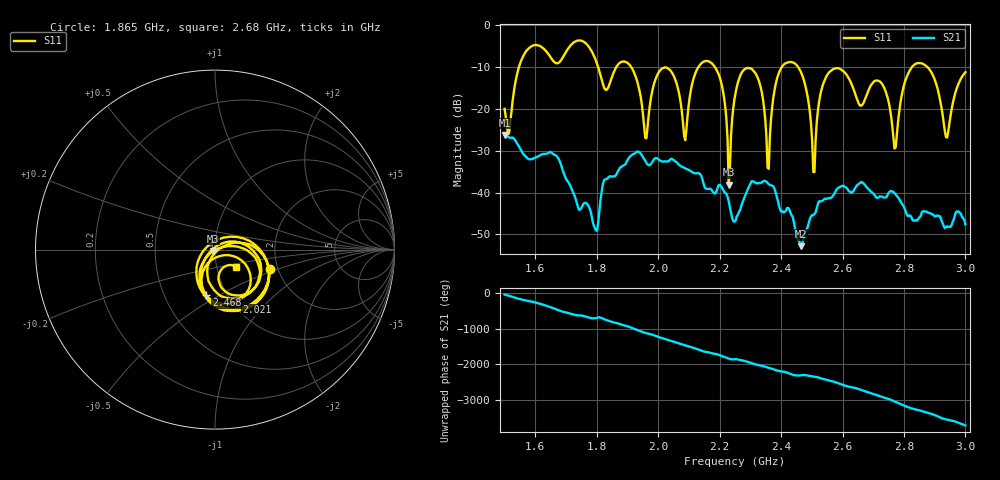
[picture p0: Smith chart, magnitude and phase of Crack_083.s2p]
# HZ S RI R 50
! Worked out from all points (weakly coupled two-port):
!   404 points, 1.5 GHz to 3 GHz, reference 50 ohm
!   highest |S21| = -26.21 dB at 1.5 GHz (marker M1); lowest = -52.8 dB at 2.464 GHz (marker M2)
!   lowest |S11| = -38.1 dB at 2.23 GHz (marker M3), VSWR 1.03, Z = 49 - j0.745 ohm
!   |S11| at or under -10 dB: 1.912 GHz to 2.131 GHz (218.3 MHz wide, 10.8 % of centre); 2.185 GHz to 2.402 GHz (217.5 MHz wide, 9.48 % of centre); 2.456 GHz to 2.826 GHz (370 MHz wide, 14 % of centre) (the widest 3 of 6)
!   S12 and S22 are empty: the file has one direction only
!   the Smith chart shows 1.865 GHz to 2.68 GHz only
!   S11 on the Smith chart (normalised r, x): 1.865 GHz: 1.81, -0.43; 2.021 GHz: 1.05, -0.67; 2.468 GHz: 0.80, -0.44; 2.68 GHz: 1.24, -0.24
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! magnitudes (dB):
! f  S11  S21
! 1.5 GHz  -20.0  -26.2
! 1.753 GHz  -3.8  -43.2
! 1.865 GHz  -9.8  -35.6
! 1.962 GHz  -27.0  -32.9
! 2.002 GHz  -11.1  -32.2
! 2.021 GHz  -10.1  -32.5
! 2.088 GHz  -27.5  -34.2
! 2.181 GHz  -9.6  -40.2
! 2.23 GHz  -38.1  -42.1
! 2.252 GHz  -16.2  -46.7
! 2.315 GHz  -11.3  -37.6
! 2.36 GHz  -34.3  -38.0
! 2.397 GHz  -10.7  -44.1
! 2.464 GHz  -11.1  -52.8
! 2.468 GHz  -11.7  -52.4
! 2.501 GHz  -27.7  -45.4
! 2.561 GHz  -10.9  -41.3
! 2.68 GHz  -16.4  -38.8
! 2.751 GHz  -18.5  -40.0
! 2.862 GHz  -9.2  -44.5
! 2.94 GHz  -26.8  -48.0
! 3 GHz  -11.2  -47.6
